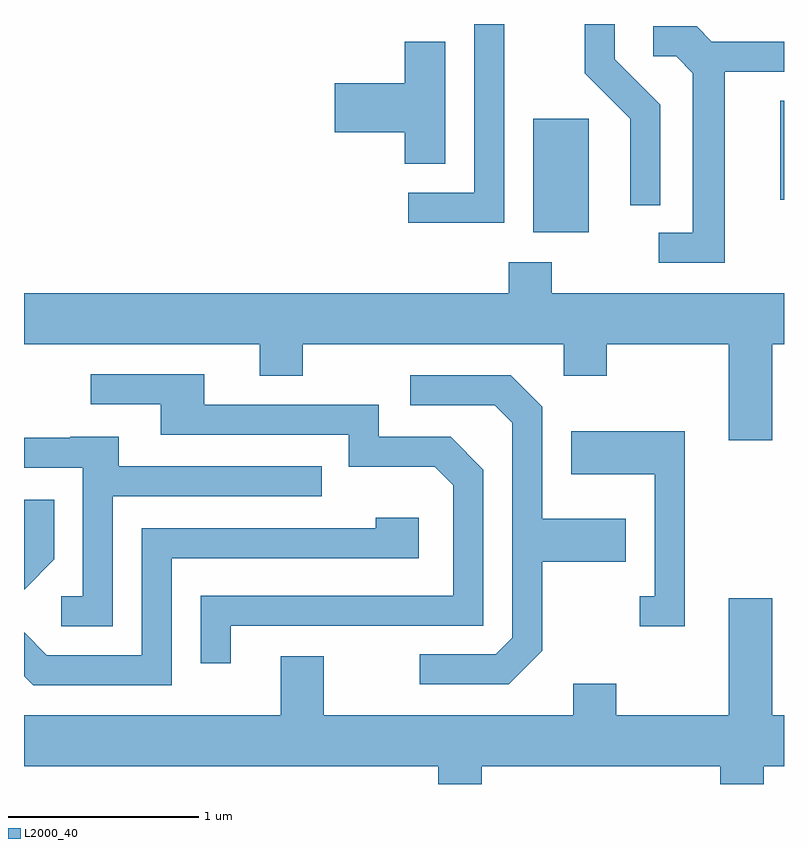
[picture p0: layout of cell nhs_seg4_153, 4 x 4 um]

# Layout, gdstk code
import gdstk
lib = gdstk.Library(unit=1e-6, precision=1e-09)
def R(c, l, rs):  # rectangles x0, y0, x1, y1
    for r in rs: c.add(gdstk.rectangle(r[:2], r[2:], *l))
def P(c, l, *ps):  # polygons
    for p in ps: c.add(gdstk.Polygon(p, *l))
L2000_40 = (2000, 40)

nhs_seg4_153 = lib.new_cell('nhs_seg4_153')
R(nhs_seg4_153, L2000_40, [(192.291,1290.886,192.584,1291.484), (193.591,1291.056,193.611,1291.579)])
P(nhs_seg4_153, L2000_40, [(192.959,1291.557),(192.719,1291.797),(192.719,1291.982),(192.561,1291.982),(192.561,1291.724),(192.801,1291.484),(192.801,1291.028),(192.959,1291.028)],
  [(192.139,1291.982),(191.981,1291.982),(191.981,1291.094),(191.633,1291.094),(191.633,1290.936),(192.139,1290.936)],
  [(193.299,1291.731),(193.611,1291.731),(193.611,1291.889),(193.232,1291.889),(193.152,1291.969),(192.923,1291.969),(192.923,1291.811),(193.044,1291.811),(193.131,1291.724),(193.131,1290.884),(192.953,1290.884),(192.953,1290.726),(193.299,1290.726)],
  [(191.829,1291.889),(191.616,1291.889),(191.616,1291.669),(191.246,1291.669),(191.246,1291.411),(191.616,1291.411),(191.616,1291.246),(191.829,1291.246)],
  [(193.549,1290.296),(193.611,1290.296),(193.611,1290.564),(192.389,1290.564),(192.389,1290.729),(192.161,1290.729),(192.161,1290.564),(189.611,1290.564),(189.611,1290.296),(190.851,1290.296),(190.851,1290.131),(191.079,1290.131),(191.079,1290.296),(192.451,1290.296),(192.451,1290.131),(192.679,1290.131),(192.679,1290.296),(193.321,1290.296),(193.321,1289.791),(193.549,1289.791)],
  [(190.699,1288.816),(192.029,1288.816),(192.029,1289.637),(191.857,1289.809),(191.479,1289.809),(191.479,1289.979),(190.559,1289.979),(190.559,1290.139),(189.963,1290.139),(189.963,1289.981),(190.331,1289.981),(190.331,1289.821),(191.321,1289.821),(191.321,1289.651),(191.774,1289.651),(191.871,1289.554),(191.871,1288.974),(190.541,1288.974),(190.541,1288.618),(190.699,1288.618)],
  [(192.339,1288.684),(192.339,1289.151),(192.779,1289.151),(192.779,1289.379),(192.339,1289.379),(192.339,1289.967),(192.172,1290.134),(191.643,1290.134),(191.643,1289.976),(192.089,1289.976),(192.181,1289.884),(192.181,1288.752),(192.094,1288.664),(191.693,1288.664),(191.693,1288.506),(192.162,1288.506)],
  [(193.089,1289.839),(192.491,1289.839),(192.491,1289.611),(192.931,1289.611),(192.931,1288.969),(192.853,1288.969),(192.853,1288.811),(193.089,1288.811)],
  [(190.079,1289.496),(191.178,1289.496),(191.178,1289.654),(190.109,1289.654),(190.109,1289.809),(189.855,1289.809),(189.855,1289.804),(189.611,1289.804),(189.611,1289.646),(189.921,1289.646),(189.921,1288.969),(189.808,1288.969),(189.808,1288.811),(190.079,1288.811)],
  [(189.769,1289.164),(189.769,1289.478),(189.611,1289.478),(189.611,1289.005)],
  [(190.389,1289.171),(191.689,1289.171),(191.689,1289.384),(191.461,1289.384),(191.461,1289.329),(190.231,1289.329),(190.231,1288.659),(189.732,1288.659),(189.611,1288.78),(189.611,1288.549),(189.659,1288.501),(190.389,1288.501)],
  [(192.019,1288.076),(193.276,1288.076),(193.276,1287.982),(193.504,1287.982),(193.504,1288.076),(193.611,1288.076),(193.611,1288.344),(193.549,1288.344),(193.549,1288.959),(193.321,1288.959),(193.321,1288.344),(192.729,1288.344),(192.729,1288.509),(192.501,1288.509),(192.501,1288.344),(191.189,1288.344),(191.189,1288.654),(190.961,1288.654),(190.961,1288.344),(189.611,1288.344),(189.611,1288.076),(191.791,1288.076),(191.791,1287.982),(192.019,1287.982)])

lib.write_gds('nhs_seg4_153.gds')
